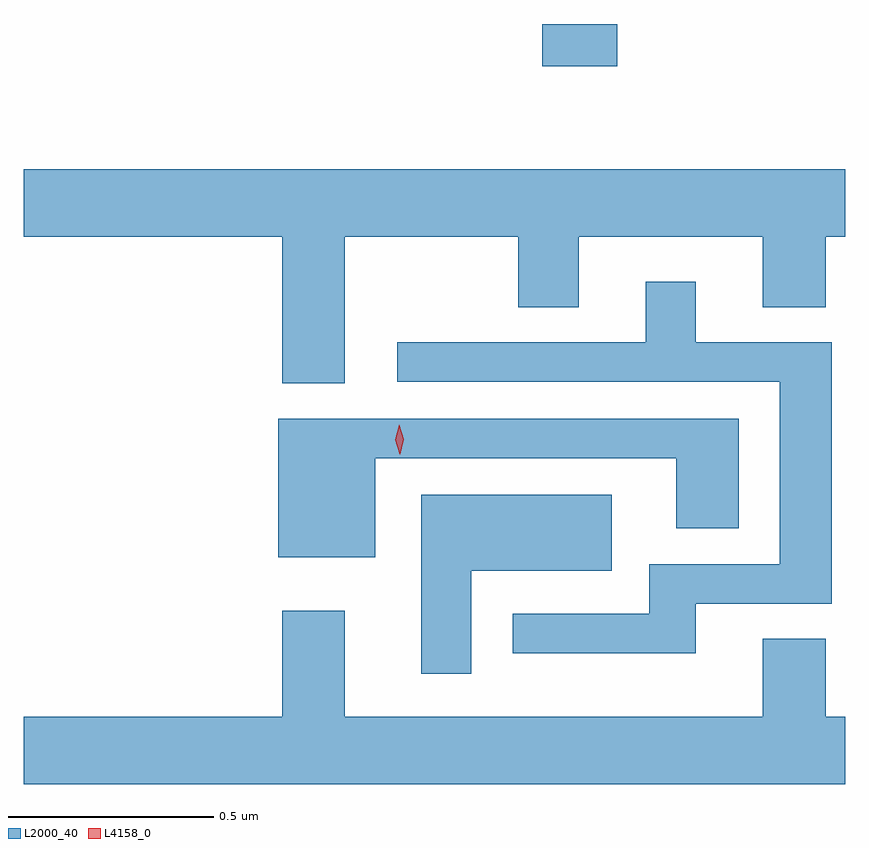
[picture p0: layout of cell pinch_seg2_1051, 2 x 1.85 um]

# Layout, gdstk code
import gdstk
lib = gdstk.Library(unit=1e-6, precision=1e-09)
def R(c, l, rs):  # rectangles x0, y0, x1, y1
    for r in rs: c.add(gdstk.rectangle(r[:2], r[2:], *l))
def P(c, l, *ps):  # polygons
    for p in ps: c.add(gdstk.Polygon(p, *l))
L2000_40 = (2000, 40)
L4158_0 = (4158, 0)

pinch_seg2_1051 = lib.new_cell('pinch_seg2_1051')
R(pinch_seg2_1051, L2000_40, [(254.798,602.763,254.981,602.866)])
P(pinch_seg2_1051, L2000_40, [(254.317,602.348),(254.74,602.348),(254.74,602.176),(254.887,602.176),(254.887,602.348),(255.335,602.348),(255.335,602.176),(255.488,602.176),(255.488,602.348),(255.536,602.348),(255.536,602.512),(253.536,602.512),(253.536,602.348),(254.165,602.348),(254.165,601.991),(254.317,601.991)],
  [(255.172,601.455),(255.503,601.455),(255.503,602.091),(255.172,602.091),(255.172,602.239),(255.05,602.239),(255.05,602.091),(254.445,602.091),(254.445,601.995),(255.377,601.995),(255.377,601.551),(255.059,601.551),(255.059,601.431),(254.727,601.431),(254.727,601.334),(255.172,601.334)],
  [(254.392,601.809),(255.125,601.809),(255.125,601.638),(255.277,601.638),(255.277,601.905),(254.156,601.905),(254.156,601.568),(254.392,601.568)],
  [(254.626,601.535),(254.968,601.535),(254.968,601.72),(254.504,601.72),(254.504,601.284),(254.626,601.284)],
  [(255.536,601.18),(255.488,601.18),(255.488,601.37),(255.335,601.37),(255.335,601.18),(254.317,601.18),(254.317,601.438),(254.165,601.438),(254.165,601.18),(253.536,601.18),(253.536,601.016),(255.536,601.016)])
P(pinch_seg2_1051, L4158_0, [(254.452,601.819),(254.441,601.854),(254.45,601.89),(254.45,601.891),(254.45,601.89),(254.461,601.855),(254.453,601.819),(254.453,601.819)])

lib.write_gds('pinch_seg2_1051.gds')
